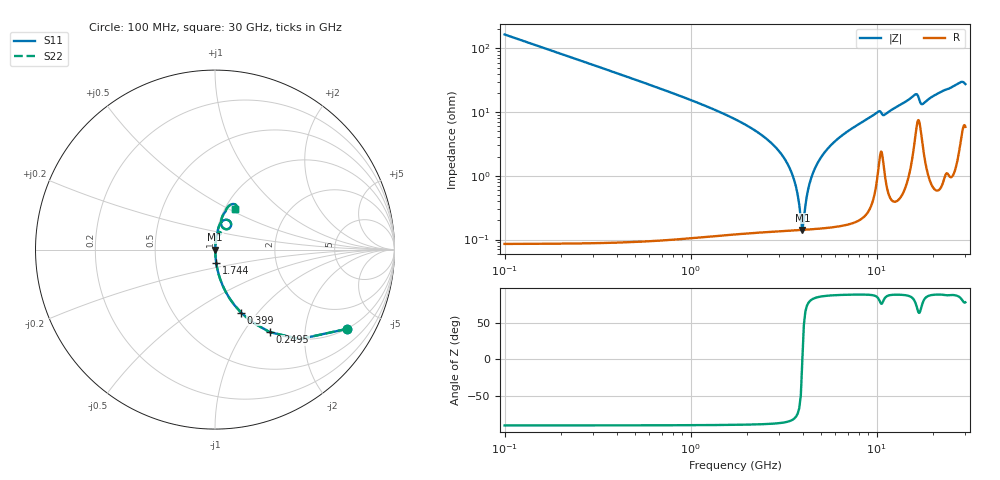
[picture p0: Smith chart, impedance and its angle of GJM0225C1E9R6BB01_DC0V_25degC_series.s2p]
!Murata Part Number: GJM0225C1E9R6BB01
!These Parameters are Measured in Series Mode Connection
!  o--ll--o
!Port1  Port2
!  o------o
!Operation Temp=25[degC], DC Bias Voltage=0[V]
!Freq. Start=100[MHz] Stop=30[GHz], 401[Steps]
!Data Generated on Feb 1, 2023
# Hz S RI R 50
!Freq.(Hz) S11(Real) S11(Imag) S21(Real) S21(Imag) S12(Real) S12(Imag) S22(Real) S22(Imag)
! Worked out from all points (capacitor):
!   401 points, 100 MHz to 30 GHz, reference 50 ohm
!   read as one part in series: C = 9.6 pF near 249.5 MHz
!   lowest |Z| = 142 mohm at 3.987 GHz (marker M1)
!   series resonance near 3.989 GHz, so ESL is about 170 pH
!   S11 on the Smith chart (normalised r, x): 100 MHz: 1.00, -3.31; 249.5 MHz: 1.00, -1.32; 399 MHz: 1.00, -0.82; 1.744 GHz: 1.00, -0.15; 30 GHz: 1.12, +0.54
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1e8  0.7329 -0.4422  0.2671 0.4422  0.2671 0.4422  0.7329 -0.4422
2.495e8  0.3048 -0.4597  0.6952 0.4597  0.6952 0.4597  0.3048 -0.4597
3.99e8  0.1452 -0.3512  0.8548 0.3512  0.8548 0.3512  0.1452 -0.3512
9.2225e8  0.029 -0.1649  0.971 0.1649  0.971 0.1649  0.029 -0.1649
1.7445e9  0.00703 -0.0761  0.993 0.0761  0.993 0.0761  0.00703 -0.0761
3.2395e9  0.00166 -0.0174  0.9983 0.0174  0.9983 0.0174  0.00166 -0.0174
3.5385e9  0.00148 -0.00995  0.9985 0.00995  0.9985 0.00995  0.00148 -0.00995
3.8375e9  0.00141 -0.00321  0.9986 0.00321  0.9986 0.00321  0.00141 -0.00321
3.987e9  0.00141 -3.21e-05  0.9986 3.21e-05  0.9986 3.21e-05  0.00141 -3.21e-05
4.06175e9  0.00142 0.00151  0.9986 -0.00151  0.9986 -0.00151  0.00142 0.00151
4.286e9  0.00147 0.00598  0.9985 -0.00598  0.9985 -0.00598  0.00147 0.00598
4.51025e9  0.00155 0.0102  0.9984 -0.0102  0.9984 -0.0102  0.00155 0.0102
5.10825e9  0.00193 0.0208  0.9981 -0.0208  0.9981 -0.0208  0.00193 0.0208
6.75275e9  0.00382 0.0463  0.9962 -0.0463  0.9962 -0.0463  0.00382 0.0463
1.01165e10  0.0195 0.0969  0.9805 -0.0969  0.9805 -0.0969  0.0195 0.0969
1.093875e10  0.0209 0.0858  0.9791 -0.0858  0.9791 -0.0858  0.0209 0.0858
1.505e10  0.0356 0.1534  0.9644 -0.1534  0.9644 -0.1534  0.0356 0.1534
1.632075e10  0.0786 0.1612  0.9214 -0.1612  0.9214 -0.1612  0.0786 0.1612
1.751675e10  0.0502 0.1171  0.9498 -0.1171  0.9498 -0.1171  0.0502 0.1171
2.005825e10  0.0365 0.1696  0.9635 -0.1696  0.9635 -0.1696  0.0365 0.1696
2.50665e10  0.0635 0.225  0.9365 -0.225  0.9365 -0.225  0.0635 0.225
3e10  0.1126 0.2252  0.8874 -0.2252  0.8874 -0.2252  0.1126 0.2252
